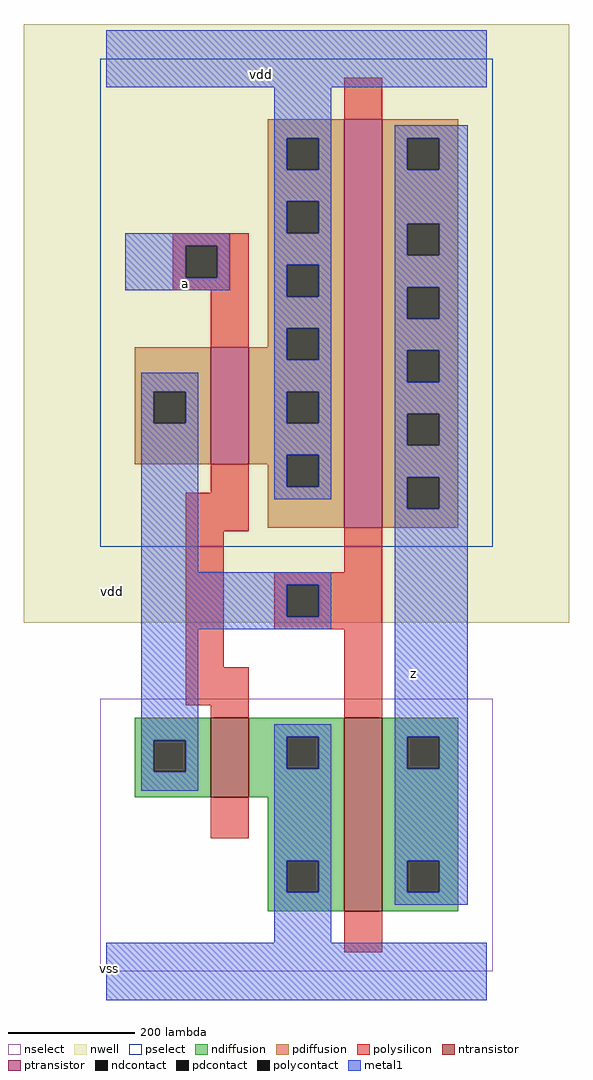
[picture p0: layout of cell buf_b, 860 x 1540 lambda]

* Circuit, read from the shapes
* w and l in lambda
.subckt buf_b z a vdd vss
M1 vss a n1 VSUBS nfet w=125 l=60
M2 z n1 vss VSUBS nfet w=305 l=60
M3 vdd a n1 vdd pfet w=185 l=60
M4 z n1 vdd vdd pfet w=645 l=60
.ends

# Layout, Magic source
magic
tech amic5n
<< nwell >>
rect -130 550 730 1495
<< ntransistor >>
rect 165 275 225 400
rect 375 95 435 400
<< ptransistor >>
rect 165 800 225 985
rect 375 700 435 1345
<< nselect >>
rect -10 0 610 430
<< pselect >>
rect -10 670 610 1440
<< ndiffusion >>
rect 45 365 165 400
rect 45 315 75 365
rect 125 315 165 365
rect 45 275 165 315
rect 225 370 375 400
rect 225 320 285 370
rect 335 320 375 370
rect 225 275 375 320
rect 255 175 375 275
rect 255 125 285 175
rect 335 125 375 175
rect 255 95 375 125
rect 435 370 555 400
rect 435 320 475 370
rect 525 320 555 370
rect 435 175 555 320
rect 435 125 475 175
rect 525 125 555 175
rect 435 95 555 125
<< pdiffusion >>
rect 255 1315 375 1345
rect 255 1265 285 1315
rect 335 1265 375 1315
rect 255 1215 375 1265
rect 255 1165 285 1215
rect 335 1165 375 1215
rect 255 1115 375 1165
rect 255 1065 285 1115
rect 335 1065 375 1115
rect 255 1015 375 1065
rect 255 985 285 1015
rect 45 915 165 985
rect 45 865 75 915
rect 125 865 165 915
rect 45 800 165 865
rect 225 965 285 985
rect 335 965 375 1015
rect 225 915 375 965
rect 225 865 285 915
rect 335 865 375 915
rect 225 815 375 865
rect 225 800 285 815
rect 255 765 285 800
rect 335 765 375 815
rect 255 700 375 765
rect 435 1315 555 1345
rect 435 1265 475 1315
rect 525 1265 555 1315
rect 435 1180 555 1265
rect 435 1130 475 1180
rect 525 1130 555 1180
rect 435 1080 555 1130
rect 435 1030 475 1080
rect 525 1030 555 1080
rect 435 980 555 1030
rect 435 930 475 980
rect 525 930 555 980
rect 435 880 555 930
rect 435 830 475 880
rect 525 830 555 880
rect 435 780 555 830
rect 435 730 475 780
rect 525 730 555 780
rect 435 700 555 730
<< ndcontact >>
rect 75 315 125 365
rect 285 320 335 370
rect 285 125 335 175
rect 475 320 525 370
rect 475 125 525 175
<< pdcontact >>
rect 285 1265 335 1315
rect 285 1165 335 1215
rect 285 1065 335 1115
rect 75 865 125 915
rect 285 965 335 1015
rect 285 865 335 915
rect 285 765 335 815
rect 475 1265 525 1315
rect 475 1130 525 1180
rect 475 1030 525 1080
rect 475 930 525 980
rect 475 830 525 880
rect 475 730 525 780
<< polysilicon >>
rect 375 1345 435 1410
rect 105 1145 225 1165
rect 105 1095 125 1145
rect 175 1095 225 1145
rect 105 1075 225 1095
rect 165 985 225 1075
rect 165 755 225 800
rect 125 695 225 755
rect 125 480 185 695
rect 375 630 435 700
rect 265 610 435 630
rect 265 560 285 610
rect 335 560 435 610
rect 265 540 435 560
rect 125 420 225 480
rect 165 400 225 420
rect 375 400 435 540
rect 165 210 225 275
rect 375 30 435 95
<< polycontact >>
rect 125 1095 175 1145
rect 285 560 335 610
<< metal1 >>
rect 0 1395 600 1485
rect 265 1315 355 1395
rect 265 1265 285 1315
rect 335 1265 355 1315
rect 265 1215 355 1265
rect 265 1165 285 1215
rect 335 1165 355 1215
rect 30 1145 195 1165
rect 30 1095 125 1145
rect 175 1095 195 1145
rect 30 1075 195 1095
rect 265 1115 355 1165
rect 265 1065 285 1115
rect 335 1065 355 1115
rect 265 1015 355 1065
rect 265 965 285 1015
rect 335 965 355 1015
rect 55 915 145 945
rect 55 865 75 915
rect 125 865 145 915
rect 55 630 145 865
rect 265 915 355 965
rect 265 865 285 915
rect 335 865 355 915
rect 265 815 355 865
rect 265 765 285 815
rect 335 765 355 815
rect 265 745 355 765
rect 455 1315 570 1335
rect 455 1265 475 1315
rect 525 1265 570 1315
rect 455 1180 570 1265
rect 455 1130 475 1180
rect 525 1130 570 1180
rect 455 1080 570 1130
rect 455 1030 475 1080
rect 525 1030 570 1080
rect 455 980 570 1030
rect 455 930 475 980
rect 525 930 570 980
rect 455 880 570 930
rect 455 830 475 880
rect 525 830 570 880
rect 455 780 570 830
rect 455 730 475 780
rect 525 730 570 780
rect 55 610 355 630
rect 55 560 285 610
rect 335 560 355 610
rect 55 540 355 560
rect 55 365 145 540
rect 55 315 75 365
rect 125 315 145 365
rect 55 285 145 315
rect 265 370 355 390
rect 265 320 285 370
rect 335 320 355 370
rect 265 175 355 320
rect 265 125 285 175
rect 335 125 355 175
rect 265 45 355 125
rect 455 370 570 730
rect 455 320 475 370
rect 525 320 570 370
rect 455 175 570 320
rect 455 125 475 175
rect 525 125 570 175
rect 455 105 570 125
rect 0 -45 600 45
<< labels >>
flabel metal1 s 245 1415 245 1415 2 FreeSans 400 0 0 0 vdd
port 2 ne
flabel metal1 s 485 470 485 470 2 FreeSans 400 0 0 0 z
port 0 ne
flabel metal1 s 125 1085 125 1085 2 FreeSans 400 0 0 0 a
port 1 ne
flabel nwell 10 600 10 600 2 FreeSans 400 0 0 0 vdd
flabel metal1 s 5 5 5 5 2 FreeSans 400 0 0 0 vss
port 3 ne
<< properties >>
string LEFclass CORE
string LEFsite core
string FIXED_BBOX 0 0 600 1440
string LEFsymmetry X Y
<< end >>
